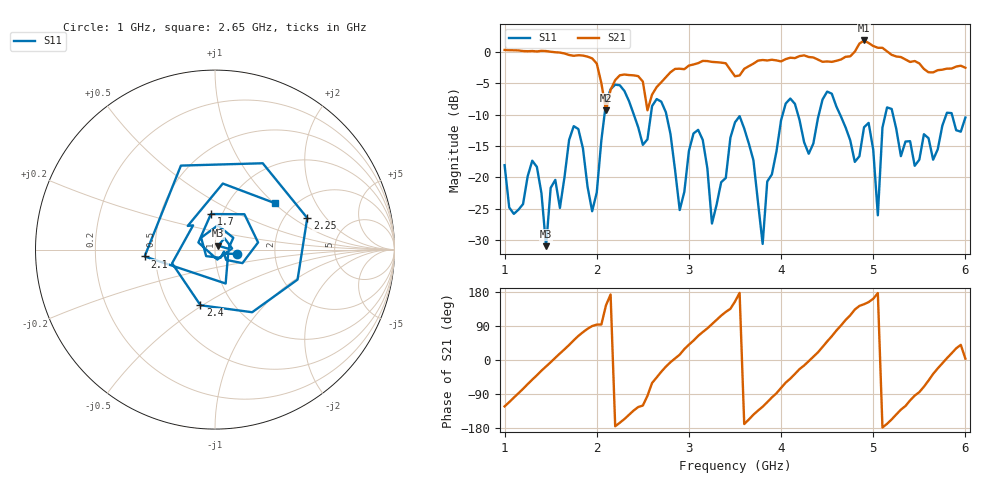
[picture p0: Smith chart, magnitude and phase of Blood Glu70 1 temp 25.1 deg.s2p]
! NanoVNA-App
! Date: 2024-03-20 22:08:31
! Start: 1GHz Stop: 6GHz Points: 101
! S-Parameter data: F S11 S21 S12 S22
# Hz S RI R 50
!	Frequency	S11_Real	S11_Imag	S21_Real	S21_Imag	S12_Real	S12_Imag	S22_Real	S22_Imag
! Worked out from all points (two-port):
!   101 points, 1 GHz to 6 GHz, reference 50 ohm
!   highest |S21| = 1.85 dB at 4.9 GHz (marker M1); lowest = -9.3 dB at 2.1 GHz (marker M2)
!   |S21| within 3 dB of the highest: start of sweep to 1.958 GHz; 4.654 GHz to 5.346 GHz (691.4 MHz wide, 13.8 % of centre)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
!   lowest |S11| = -31.0 dB at 1.45 GHz (marker M3), VSWR 1.06, Z = 51.8 + j2.24 ohm
!   |S11| at or under -10 dB: start of sweep to 2.084 GHz; 2.756 GHz to 4.016 GHz (1.261 GHz wide, 37.2 % of centre); 5.214 GHz to 5.792 GHz (577.7 MHz wide, 10.5 % of centre)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
!   S12 and S22 are empty: the file has one direction only
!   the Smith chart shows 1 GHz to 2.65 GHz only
!   S11 on the Smith chart (normalised r, x): 1 GHz: 1.28, -0.06; 1.7 GHz: 0.88, +0.36; 2.1 GHz: 0.44, -0.04; 2.25 GHz: 2.64, +1.32; 2.4 GHz: 0.71, -0.49; 2.65 GHz: 1.61, +1.01
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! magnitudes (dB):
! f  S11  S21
! 1 GHz  -18.0  0.3
! 1.35 GHz  -18.3  0.1
! 1.45 GHz  -31.0  0.2
! 1.7 GHz  -14.0  -0.5
! 1.85 GHz  -15.4  -0.6
! 1.95 GHz  -25.4  -1.0
! 2.1 GHz  -8.1  -9.3
! 2.25 GHz  -5.3  -3.7
! 2.4 GHz  -9.9  -3.7
! 2.65 GHz  -7.5  -5.6
! 2.7 GHz  -7.9  -4.8
! 2.9 GHz  -25.2  -2.7
! 3.1 GHz  -12.4  -1.8
! 3.25 GHz  -27.3  -1.6
! 3.5 GHz  -11.2  -3.9
! 3.8 GHz  -30.6  -1.3
! 4.05 GHz  -8.2  -1.1
! 4.35 GHz  -14.6  -0.9
! 4.9 GHz  -12.0  1.8
! 5.05 GHz  -26.0  0.7
! 5.2 GHz  -9.1  -0.4
! 6 GHz  -10.5  -2.5
